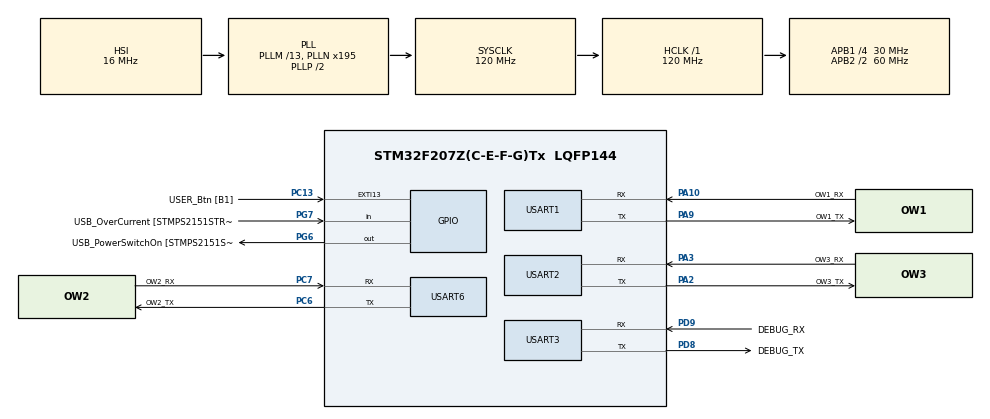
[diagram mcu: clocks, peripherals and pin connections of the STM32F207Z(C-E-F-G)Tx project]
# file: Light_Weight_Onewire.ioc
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Dma.Request0=USART1_RX
Dma.Request1=USART1_TX
Dma.Request2=USART2_RX
Dma.Request3=USART2_TX
Dma.Request4=USART6_RX
Dma.Request5=USART6_TX
Dma.USART1_RX.0.Direction=DMA_PERIPH_TO_MEMORY
Dma.USART1_RX.0.FIFOMode=DMA_FIFOMODE_DISABLE
Dma.USART1_RX.0.Instance=DMA2_Stream2
Dma.USART1_RX.0.MemDataAlignment=DMA_MDATAALIGN_BYTE
Dma.USART1_RX.0.MemInc=DMA_MINC_ENABLE
Dma.USART1_RX.0.Mode=DMA_NORMAL
Dma.USART1_RX.0.PeriphDataAlignment=DMA_PDATAALIGN_BYTE
Dma.USART1_RX.0.PeriphInc=DMA_PINC_DISABLE
Dma.USART1_RX.0.Priority=DMA_PRIORITY_LOW
Dma.USART1_TX.1.Direction=DMA_MEMORY_TO_PERIPH
Dma.USART1_TX.1.FIFOMode=DMA_FIFOMODE_DISABLE
Dma.USART1_TX.1.Instance=DMA2_Stream7
Dma.USART1_TX.1.MemDataAlignment=DMA_MDATAALIGN_BYTE
Dma.USART1_TX.1.MemInc=DMA_MINC_ENABLE
Dma.USART1_TX.1.Mode=DMA_NORMAL
Dma.USART1_TX.1.PeriphDataAlignment=DMA_PDATAALIGN_BYTE
Dma.USART1_TX.1.PeriphInc=DMA_PINC_DISABLE
Dma.USART1_TX.1.Priority=DMA_PRIORITY_LOW
Dma.USART2_RX.2.Direction=DMA_PERIPH_TO_MEMORY
Dma.USART2_RX.2.FIFOMode=DMA_FIFOMODE_DISABLE
Dma.USART2_RX.2.Instance=DMA1_Stream5
Dma.USART2_RX.2.MemDataAlignment=DMA_MDATAALIGN_BYTE
Dma.USART2_RX.2.MemInc=DMA_MINC_ENABLE
Dma.USART2_RX.2.Mode=DMA_NORMAL
Dma.USART2_RX.2.PeriphDataAlignment=DMA_PDATAALIGN_BYTE
Dma.USART2_RX.2.PeriphInc=DMA_PINC_DISABLE
Dma.USART2_RX.2.Priority=DMA_PRIORITY_LOW
Dma.USART2_TX.3.Direction=DMA_MEMORY_TO_PERIPH
Dma.USART2_TX.3.FIFOMode=DMA_FIFOMODE_DISABLE
Dma.USART2_TX.3.Instance=DMA1_Stream6
Dma.USART2_TX.3.MemDataAlignment=DMA_MDATAALIGN_BYTE
Dma.USART2_TX.3.MemInc=DMA_MINC_ENABLE
Dma.USART2_TX.3.Mode=DMA_NORMAL
Dma.USART2_TX.3.PeriphDataAlignment=DMA_PDATAALIGN_BYTE
Dma.USART2_TX.3.PeriphInc=DMA_PINC_DISABLE
Dma.USART2_TX.3.Priority=DMA_PRIORITY_LOW
Dma.USART6_RX.4.Direction=DMA_PERIPH_TO_MEMORY
Dma.USART6_RX.4.FIFOMode=DMA_FIFOMODE_DISABLE
Dma.USART6_RX.4.Instance=DMA2_Stream1
Dma.USART6_RX.4.MemDataAlignment=DMA_MDATAALIGN_BYTE
Dma.USART6_RX.4.MemInc=DMA_MINC_ENABLE
Dma.USART6_RX.4.Mode=DMA_NORMAL
Dma.USART6_RX.4.PeriphDataAlignment=DMA_PDATAALIGN_BYTE
Dma.USART6_RX.4.PeriphInc=DMA_PINC_DISABLE
Dma.USART6_RX.4.Priority=DMA_PRIORITY_LOW
Dma.USART6_TX.5.Direction=DMA_MEMORY_TO_PERIPH
Dma.USART6_TX.5.FIFOMode=DMA_FIFOMODE_DISABLE
Dma.USART6_TX.5.Instance=DMA2_Stream6
Dma.USART6_TX.5.MemDataAlignment=DMA_MDATAALIGN_BYTE
Dma.USART6_TX.5.MemInc=DMA_MINC_ENABLE
Dma.USART6_TX.5.Mode=DMA_NORMAL
Dma.USART6_TX.5.PeriphDataAlignment=DMA_PDATAALIGN_BYTE
Dma.USART6_TX.5.PeriphInc=DMA_PINC_DISABLE
Dma.USART6_TX.5.Priority=DMA_PRIORITY_LOW
FREERTOS.INCLUDE_xTaskGetCurrentTaskHandle=1
FREERTOS.Tasks01=lwow_task,24,256,start_lwow_task,Default,NULL,Dynamic,NULL,NULL
FREERTOS.configMINIMAL_STACK_SIZE=256
Mcu.Family=STM32F2
Mcu.Name=STM32F207Z(C-E-F-G)Tx
Mcu.Package=LQFP144
NVIC.DMA1_Stream5_IRQn=true\:5\:0\:false\:false\:true\:true\:false\:true
NVIC.DMA1_Stream6_IRQn=true\:5\:0\:false\:false\:true\:true\:false\:true
NVIC.DMA2_Stream1_IRQn=true\:5\:0\:false\:false\:true\:true\:false\:true
NVIC.DMA2_Stream2_IRQn=true\:5\:0\:false\:false\:true\:true\:false\:true
NVIC.DMA2_Stream6_IRQn=true\:5\:0\:false\:false\:true\:true\:false\:true
NVIC.DMA2_Stream7_IRQn=true\:5\:0\:false\:false\:true\:true\:false\:true
NVIC.PriorityGroup=NVIC_PRIORITYGROUP_4
NVIC.TIM6_DAC_IRQn=true\:0\:0\:false\:false\:true\:false\:false\:true
NVIC.TimeBase=TIM6_DAC_IRQn
NVIC.TimeBaseIP=TIM6
NVIC.USART1_IRQn=true\:5\:0\:false\:false\:true\:true\:true\:true
NVIC.USART2_IRQn=true\:5\:0\:false\:false\:true\:true\:true\:true
NVIC.USART3_IRQn=true\:5\:0\:false\:false\:true\:true\:true\:true
NVIC.USART6_IRQn=true\:5\:0\:false\:false\:true\:true\:true\:true
PA10.GPIO_Label=OW1_RX
PA10.Mode=Asynchronous
PA10.Signal=USART1_RX
PA13.GPIO_Label=TMS
PA13.Mode=Serial_Wire
PA13.Signal=SYS_JTMS-SWDIO
PA14.GPIO_Label=TCK
PA14.Mode=Serial_Wire
PA14.Signal=SYS_JTCK-SWCLK
PA2.GPIO_Label=OW3_TX
PA2.Mode=Asynchronous
PA2.Signal=USART2_TX
PA3.GPIO_Label=OW3_RX
PA3.Mode=Asynchronous
PA3.Signal=USART2_RX
PA9.GPIO_Label=OW1_TX
PA9.Mode=Asynchronous
PA9.Signal=USART1_TX
PB3.GPIO_Label=SWO
PB3.Signal=SYS_JTDO-SWO
PC13.GPIO_Label=USER_Btn [B1]
PC13.Signal=GPXTI13
PC14-OSC32_IN.Mode=LSE-External-Oscillator
PC14-OSC32_IN.Signal=RCC_OSC32_IN
PC15-OSC32_OUT.Mode=LSE-External-Oscillator
PC15-OSC32_OUT.Signal=RCC_OSC32_OUT
PC6.GPIO_Label=OW2_TX
PC6.Mode=Asynchronous
PC6.Signal=USART6_TX
PC7.GPIO_Label=OW2_RX
PC7.Mode=Asynchronous
PC7.Signal=USART6_RX
PD8.GPIO_Label=DEBUG_TX
PD8.Mode=Asynchronous
PD8.Signal=USART3_TX
PD9.GPIO_Label=DEBUG_RX
PD9.Mode=Asynchronous
PD9.Signal=USART3_RX
PG6.GPIO_Label=USB_PowerSwitchOn [STMPS2151STR_EN]
PG6.Signal=GPIO_Output
PG7.GPIO_Label=USB_OverCurrent [STMPS2151STR_FAULT]
PG7.Signal=GPIO_Input
PH0-OSC_IN.GPIO_Label=MCO [STM32F103CBT6_PA8]
PH0-OSC_IN.Mode=HSE-External-Clock-Source
PH0-OSC_IN.Signal=RCC_OSC_IN
PH1-OSC_OUT.Mode=HSE-External-Clock-Source
PH1-OSC_OUT.Signal=RCC_OSC_OUT
ProjectManager.HeapSize=0x200
ProjectManager.StackSize=0x400
ProjectManager.TargetToolchain=STM32CubeIDE
RCC.48MHZClocksFreq_Value=48000000
RCC.AHBFreq_Value=120000000
RCC.APB1CLKDivider=RCC_HCLK_DIV4
RCC.APB1Freq_Value=30000000
RCC.APB1TimFreq_Value=60000000
RCC.APB2CLKDivider=RCC_HCLK_DIV2
RCC.APB2Freq_Value=60000000
RCC.APB2TimFreq_Value=120000000
RCC.CortexFreq_Value=120000000
RCC.HCLKFreq_Value=120000000
RCC.HSE_VALUE=8000000
RCC.HSI_VALUE=16000000
RCC.PLLM=13
RCC.PLLMUL=RCC_PLL_MUL9
RCC.PLLN=195
RCC.PLLQ=5
RCC.PRESCALERUSB=RCC_USBCLKSOURCE_PLL_DIV1_5
RCC.SYSCLKFreq_VALUE=120000000
RCC.SYSCLKSource=RCC_SYSCLKSOURCE_PLLCLK
RCC.SYSCLKSourceVirtual=RCC_SYSCLKSOURCE_PLLCLK
RCC.USBFreq_Value=48000000
RCC.VCOOutputFreq_Value=240000000
USART1.VirtualMode=VM_ASYNC
USART2.VirtualMode=VM_ASYNC
USART3.VirtualMode=VM_ASYNC
USART6.VirtualMode=VM_ASYNC
VP_FREERTOS_VS_CMSIS_V2.Mode=CMSIS_V2
VP_SYS_VS_tim6.Mode=TIM6
board=NUCLEO-F207ZG

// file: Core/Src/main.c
/* USER CODE BEGIN Header */
/**
 ******************************************************************************
 * @file           : main.c
 * @brief          : Main program body
 ******************************************************************************
 * @attention
 *
 * <h2><center>&copy; Copyright (c) 2021 STMicroelectronics.
 * All rights reserved.</center></h2>
 *
 * This software component is licensed by ST under BSD 3-Clause license,
 * the "License"; You may not use this file except in compliance with the
 * License. You may obtain a copy of the License at:
 *                        opensource.org/licenses/BSD-3-Clause
 *
 ******************************************************************************
 */
/* USER CODE END Header */
#include "main.h"
#include "cmsis_os.h"

/* USER CODE BEGIN Includes */
#include "lwow.h"
#include "scan_devices.h"
#include <stdio.h>
#include <stdarg.h>
/* USER CODE END Includes */

UART_HandleTypeDef huart1;
UART_HandleTypeDef huart2;
UART_HandleTypeDef huart3;
UART_HandleTypeDef huart6;
DMA_HandleTypeDef hdma_usart1_rx;
DMA_HandleTypeDef hdma_usart1_tx;
DMA_HandleTypeDef hdma_usart2_rx;
DMA_HandleTypeDef hdma_usart2_tx;
DMA_HandleTypeDef hdma_usart6_rx;
DMA_HandleTypeDef hdma_usart6_tx;

/* Definitions for lwow_task */
osThreadId_t lwow_taskHandle;
const osThreadAttr_t lwow_task_attributes = { .name = "lwow_task", .priority =
		(osPriority_t) osPriorityNormal, .stack_size = 256 * 4 };
/* USER CODE BEGIN PV */
/* Custom structure for link between onewire and uarts */
typedef struct {
	lwow_t ow;
	uint8_t id;
	UART_HandleTypeDef *uart;
} ow_uart_link_t;

/* Make links between ow and uart */
static ow_uart_link_t ow_uart_link_1 = { .id = 1, .uart = &huart1 };
static ow_uart_link_t ow_uart_link_2 = { .id = 2, .uart = &huart2 };
static ow_uart_link_t ow_uart_link_3 = { .id = 3, .uart = &huart6 };

/* Use extern low-level for OW using HAL */
extern const lwow_ll_drv_t lwow_ll_drv_stm32_hal;
/* USER CODE END PV */

void SystemClock_Config(void);
static void MX_GPIO_Init(void);
static void MX_DMA_Init(void);
static void MX_USART3_UART_Init(void);
static void MX_USART1_UART_Init(void);
static void MX_USART2_UART_Init(void);
static void MX_USART6_UART_Init(void);
void start_lwow_task(void *argument);

/* USER CODE BEGIN 0 */
void safeprintf(const char *fmt, ...) {
	va_list va;

	va_start(va, fmt);
	osKernelLock();
	vprintf(fmt, va);
	osKernelUnlock();
	va_end(va);
}
/* USER CODE END 0 */

int main(void) {

	/* MCU Configuration--------------------------------------------------------*/

	/* Reset of all peripherals, Initializes the Flash interface and the Systick. */
	HAL_Init();

	/* Configure the system clock */
	SystemClock_Config();

	/* Initialize all configured peripherals */
	MX_GPIO_Init();
	MX_DMA_Init();
	MX_USART3_UART_Init();
	MX_USART1_UART_Init();
	MX_USART2_UART_Init();
	MX_USART6_UART_Init();
	/* USER CODE BEGIN 2 */
	printf("Application running on STM32F429ZI-Nucleo board!\r\n");
	/* USER CODE END 2 */

	/* Init scheduler */
	osKernelInitialize();

	/* Create the thread(s) */
	/* creation of lwow_task */
	lwow_taskHandle = osThreadNew(start_lwow_task, NULL, &lwow_task_attributes);

	/* USER CODE BEGIN RTOS_THREADS */
	/* add threads, ... */
	/* Handle OW on multiple instances */
	osThreadNew(start_lwow_task, &ow_uart_link_1, &lwow_task_attributes);
	osThreadNew(start_lwow_task, &ow_uart_link_2, &lwow_task_attributes);
	osThreadNew(start_lwow_task, &ow_uart_link_3, &lwow_task_attributes);
	/* USER CODE END RTOS_THREADS */

	/* Start scheduler */
	osKernelStart();

	/* We should never get here as control is now taken by the scheduler */
	/* Infinite loop */
	while (1) {

	}
}

void SystemClock_Config(void) {
	RCC_OscInitTypeDef RCC_OscInitStruct = { 0 };
	RCC_ClkInitTypeDef RCC_ClkInitStruct = { 0 };

	/** Initializes the RCC Oscillators according to the specified parameters
	 * in the RCC_OscInitTypeDef structure.
	 */
	RCC_OscInitStruct.OscillatorType = RCC_OSCILLATORTYPE_HSI;
	RCC_OscInitStruct.HSIState = RCC_HSI_ON;
	RCC_OscInitStruct.HSICalibrationValue = RCC_HSICALIBRATION_DEFAULT;
	RCC_OscInitStruct.PLL.PLLState = RCC_PLL_ON;
	RCC_OscInitStruct.PLL.PLLSource = RCC_PLLSOURCE_HSI;
	RCC_OscInitStruct.PLL.PLLM = 13;
	RCC_OscInitStruct.PLL.PLLN = 195;
	RCC_OscInitStruct.PLL.PLLP = RCC_PLLP_DIV2;
	RCC_OscInitStruct.PLL.PLLQ = 5;
	if (HAL_RCC_OscConfig(&RCC_OscInitStruct) != HAL_OK) {
		Error_Handler();
	}
	/** Initializes the CPU, AHB and APB buses clocks
	 */
	RCC_ClkInitStruct.ClockType = RCC_CLOCKTYPE_HCLK | RCC_CLOCKTYPE_SYSCLK
			| RCC_CLOCKTYPE_PCLK1 | RCC_CLOCKTYPE_PCLK2;
	RCC_ClkInitStruct.SYSCLKSource = RCC_SYSCLKSOURCE_PLLCLK;
	RCC_ClkInitStruct.AHBCLKDivider = RCC_SYSCLK_DIV1;
	RCC_ClkInitStruct.APB1CLKDivider = RCC_HCLK_DIV4;
	RCC_ClkInitStruct.APB2CLKDivider = RCC_HCLK_DIV2;

	if (HAL_RCC_ClockConfig(&RCC_ClkInitStruct, FLASH_LATENCY_3) != HAL_OK) {
		Error_Handler();
	}
}

static void MX_USART1_UART_Init(void) {

	huart1.Instance = USART1;
	huart1.Init.BaudRate = 115200;
	huart1.Init.WordLength = UART_WORDLENGTH_8B;
	huart1.Init.StopBits = UART_STOPBITS_1;
	huart1.Init.Parity = UART_PARITY_NONE;
	huart1.Init.Mode = UART_MODE_TX_RX;
	huart1.Init.HwFlowCtl = UART_HWCONTROL_NONE;
	huart1.Init.OverSampling = UART_OVERSAMPLING_16;
	if (HAL_UART_Init(&huart1) != HAL_OK) {
		Error_Handler();
	}

}

static void MX_USART2_UART_Init(void) {

	huart2.Instance = USART2;
	huart2.Init.BaudRate = 115200;
	huart2.Init.WordLength = UART_WORDLENGTH_8B;
	huart2.Init.StopBits = UART_STOPBITS_1;
	huart2.Init.Parity = UART_PARITY_NONE;
	huart2.Init.Mode = UART_MODE_TX_RX;
	huart2.Init.HwFlowCtl = UART_HWCONTROL_NONE;
	huart2.Init.OverSampling = UART_OVERSAMPLING_16;
	if (HAL_UART_Init(&huart2) != HAL_OK) {
		Error_Handler();
	}

}

static void MX_USART3_UART_Init(void) {

	huart3.Instance = USART3;
	huart3.Init.BaudRate = 115200;
	huart3.Init.WordLength = UART_WORDLENGTH_8B;
	huart3.Init.StopBits = UART_STOPBITS_1;
	huart3.Init.Parity = UART_PARITY_NONE;
	huart3.Init.Mode = UART_MODE_TX_RX;
	huart3.Init.HwFlowCtl = UART_HWCONTROL_NONE;
	huart3.Init.OverSampling = UART_OVERSAMPLING_16;
	if (HAL_UART_Init(&huart3) != HAL_OK) {
		Error_Handler();
	}

}

static void MX_USART6_UART_Init(void) {

	huart6.Instance = USART6;
	huart6.Init.BaudRate = 115200;
	huart6.Init.WordLength = UART_WORDLENGTH_8B;
	huart6.Init.StopBits = UART_STOPBITS_1;
	huart6.Init.Parity = UART_PARITY_NONE;
	huart6.Init.Mode = UART_MODE_TX_RX;
	huart6.Init.HwFlowCtl = UART_HWCONTROL_NONE;
	huart6.Init.OverSampling = UART_OVERSAMPLING_16;
	if (HAL_UART_Init(&huart6) != HAL_OK) {
		Error_Handler();
	}

}

static void MX_DMA_Init(void) {

	/* DMA controller clock enable */
	__HAL_RCC_DMA2_CLK_ENABLE();
	__HAL_RCC_DMA1_CLK_ENABLE();

	/* DMA interrupt init */
	/* DMA1_Stream5_IRQn interrupt configuration */
	HAL_NVIC_SetPriority(DMA1_Stream5_IRQn, 5, 0);
	HAL_NVIC_EnableIRQ(DMA1_Stream5_IRQn);
	/* DMA1_Stream6_IRQn interrupt configuration */
	HAL_NVIC_SetPriority(DMA1_Stream6_IRQn, 5, 0);
	HAL_NVIC_EnableIRQ(DMA1_Stream6_IRQn);
	/* DMA2_Stream1_IRQn interrupt configuration */
	HAL_NVIC_SetPriority(DMA2_Stream1_IRQn, 5, 0);
	HAL_NVIC_EnableIRQ(DMA2_Stream1_IRQn);
	/* DMA2_Stream2_IRQn interrupt configuration */
	HAL_NVIC_SetPriority(DMA2_Stream2_IRQn, 5, 0);
	HAL_NVIC_EnableIRQ(DMA2_Stream2_IRQn);
	/* DMA2_Stream6_IRQn interrupt configuration */
	HAL_NVIC_SetPriority(DMA2_Stream6_IRQn, 5, 0);
	HAL_NVIC_EnableIRQ(DMA2_Stream6_IRQn);
	/* DMA2_Stream7_IRQn interrupt configuration */
	HAL_NVIC_SetPriority(DMA2_Stream7_IRQn, 5, 0);
	HAL_NVIC_EnableIRQ(DMA2_Stream7_IRQn);

}

static void MX_GPIO_Init(void) {
	GPIO_InitTypeDef GPIO_InitStruct = { 0 };

	/* GPIO Ports Clock Enable */
	__HAL_RCC_GPIOC_CLK_ENABLE();
	__HAL_RCC_GPIOH_CLK_ENABLE();
	__HAL_RCC_GPIOA_CLK_ENABLE();
	__HAL_RCC_GPIOD_CLK_ENABLE();
	__HAL_RCC_GPIOG_CLK_ENABLE();
	__HAL_RCC_GPIOB_CLK_ENABLE();

	/*Configure GPIO pin Output Level */
	HAL_GPIO_WritePin(USB_PowerSwitchOn_GPIO_Port, USB_PowerSwitchOn_Pin,
			GPIO_PIN_RESET);

	/*Configure GPIO pin : USER_Btn_Pin */
	GPIO_InitStruct.Pin = USER_Btn_Pin;
	GPIO_InitStruct.Mode = GPIO_MODE_IT_RISING;
	GPIO_InitStruct.Pull = GPIO_NOPULL;
	HAL_GPIO_Init(USER_Btn_GPIO_Port, &GPIO_InitStruct);

	/*Configure GPIO pin : USB_PowerSwitchOn_Pin */
	GPIO_InitStruct.Pin = USB_PowerSwitchOn_Pin;
	GPIO_InitStruct.Mode = GPIO_MODE_OUTPUT_PP;
	GPIO_InitStruct.Pull = GPIO_NOPULL;
	GPIO_InitStruct.Speed = GPIO_SPEED_FREQ_LOW;
	HAL_GPIO_Init(USB_PowerSwitchOn_GPIO_Port, &GPIO_InitStruct);

	/*Configure GPIO pin : USB_OverCurrent_Pin */
	GPIO_InitStruct.Pin = USB_OverCurrent_Pin;
	GPIO_InitStruct.Mode = GPIO_MODE_INPUT;
	GPIO_InitStruct.Pull = GPIO_NOPULL;
	HAL_GPIO_Init(USB_OverCurrent_GPIO_Port, &GPIO_InitStruct);

}

/* USER CODE BEGIN 4 */
/**
 * \brief           Printf character handler
 * \param[in]       ch: Character to send
 * \param[in]       f: File pointer
 * \return          Written character
 */
#ifdef __GNUC__
int __io_putchar(int ch) {
#else
int fputc(int ch, FILE* fil) {
#endif
	uint8_t c = (uint8_t) ch;
	HAL_UART_Transmit(&huart3, &c, 1, 100);
	return ch;
}
/* USER CODE END 4 */

void start_lwow_task(void *argument) {
	/* USER CODE BEGIN 5 */
#define ROM_IDS_SIZE                    10
	ow_uart_link_t *link = argument;
	lwow_rom_t *rom_ids;
	size_t rom_found;
	lwowr_t res;

	/* Disable default and unknown thread */
	if (link == NULL) {
		osThreadExit();
	}

	/* Print thread started status */
	safeprintf("[OW %d] Task started\r\n", (int) link->id);

	/* Allocate memory for roms */
	rom_ids = pvPortMalloc(sizeof(*rom_ids) * ROM_IDS_SIZE);
	if (rom_ids == NULL) {
		safeprintf("[OW %d] Could not allocate rom_ids memory!\r\n",
				(int) link->id);
		osThreadExit();
	}

	/* Initialize OW instance */
	res = lwow_init(&link->ow, &lwow_ll_drv_stm32_hal, link->uart);

	/* Initialize OW with UART instance as custom parameter */
	safeprintf("[OW %d] Init OW: %d\r\n", (int) link->id, (int) res);

	/* Infinite loop */
	for (;;) {
		if (scan_onewire_devices(&link->ow, rom_ids, ROM_IDS_SIZE, &rom_found)
				== lwowOK) {
			safeprintf("[OW %d] Devices scanned, found %d devices!\r\n",
					(int) link->id, (int) rom_found);
		} else {
			safeprintf("[OW %d] Device scan error\r\n", (int) link->id);
		}
		osDelay(3000);
	}
	/* USER CODE END 5 */
}

void HAL_TIM_PeriodElapsedCallback(TIM_HandleTypeDef *htim) {
	if (htim->Instance == TIM6) {
		HAL_IncTick();
	}
}

void Error_Handler(void) {
	__disable_irq();
	while (1) {
	}
}

/************************ (C) COPYRIGHT STMicroelectronics *****END OF FILE****/
